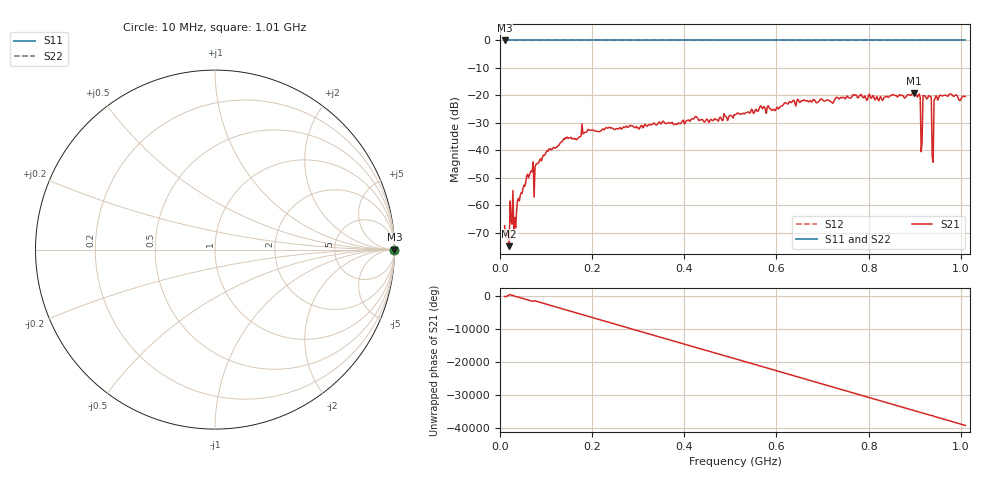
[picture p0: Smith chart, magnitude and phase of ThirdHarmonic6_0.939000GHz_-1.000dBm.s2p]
! 8/16/2025 6:34:07 AM
! C:\ANRITSUVNA\TEMP\TEMP.S2P
! CHANNEL.1
! TR.MEASUREMENT
! RAW.DATA
! RF.CORRECTION.OFF
! AVERAGING.OFF
! IF.BANDWIDTH: 5KHZ
! SWEEPTYPE:  FREQ.SWEEP(Linear)
! Reference Plane Port Info
! PORT:  PORT1  PORT2
! DISTANCE:  0  m  0  m
! TIME:  0  s  0  s
! PHASE.OFFSET:  0  deg.  0  deg.
! LOSS:  0  dB  0  dB
! REF.LOSS:  0  dB  0  dB
! REF.FREQ:  0  Hz  0  Hz
! Power Info
! POWER:  -20  dBm  -20  dBm
! EFF.POWER:  -20  dBm  -20  dBm
! SOURCE.ATTEN:  0  dB  0  dB
! TEST.ATTEN:  0  dB  0  dB
# GHZ S RI R 50.0
! FREQ.GHZ  S11RE  S11IM  S21RE  S21IM  S12RE  S12IM  S22RE  S22IM
!; PortSelection: Port_12
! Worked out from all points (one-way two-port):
!   501 points, 10 MHz to 1.01 GHz, reference 50 ohm
!   highest |S21| = -19.14 dB at 898 MHz (marker M1); lowest = -74.9 dB at 20 MHz (marker M2)
!   lowest |S11| = 0.0 dB at 10 MHz (marker M3)
!   |S11| at or under -10 dB: nowhere
!   |S22| runs from 0.0 to 0.0 dB; largest |S21 - S12| = 1.1
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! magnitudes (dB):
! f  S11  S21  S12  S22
! 10 MHz  0.0  -67.5  0.0  0.0
! 16 MHz  0.0  -71.0  0.0  0.0
! 20 MHz  0.0  -74.9  0.0  0.0
! 34 MHz  0.0  -68.3  0.0  0.0
! 68 MHz  0.0  -47.4  0.0  0.0
! 106 MHz  0.0  -39.5  0.0  0.0
! 178 MHz  0.0  -30.4  0.0  0.0
! 344 MHz  0.0  -30.0  0.0  0.0
! 510 MHz  0.0  -27.1  0.0  0.0
! 678 MHz  0.0  -22.1  0.0  0.0
! 844 MHz  0.0  -20.6  0.0  0.0
! 898 MHz  0.0  -19.1  0.0  0.0
! 908 MHz  0.0  -19.8  0.0  0.0
! 912 MHz  0.0  -20.8  0.0  0.0
! 916 MHz  0.0  -37.0  0.0  0.0
! 922 MHz  0.0  -20.2  0.0  0.0
! 932 MHz  0.0  -20.3  0.0  0.0
! 936 MHz  0.0  -20.8  0.0  0.0
! 940 MHz  0.0  -44.4  0.0  0.0
! 942 MHz  0.0  -21.8  0.0  0.0
! 946 MHz  0.0  -20.1  0.0  0.0
! 1.01 GHz  0.0  -20.4  0.0  0.0
